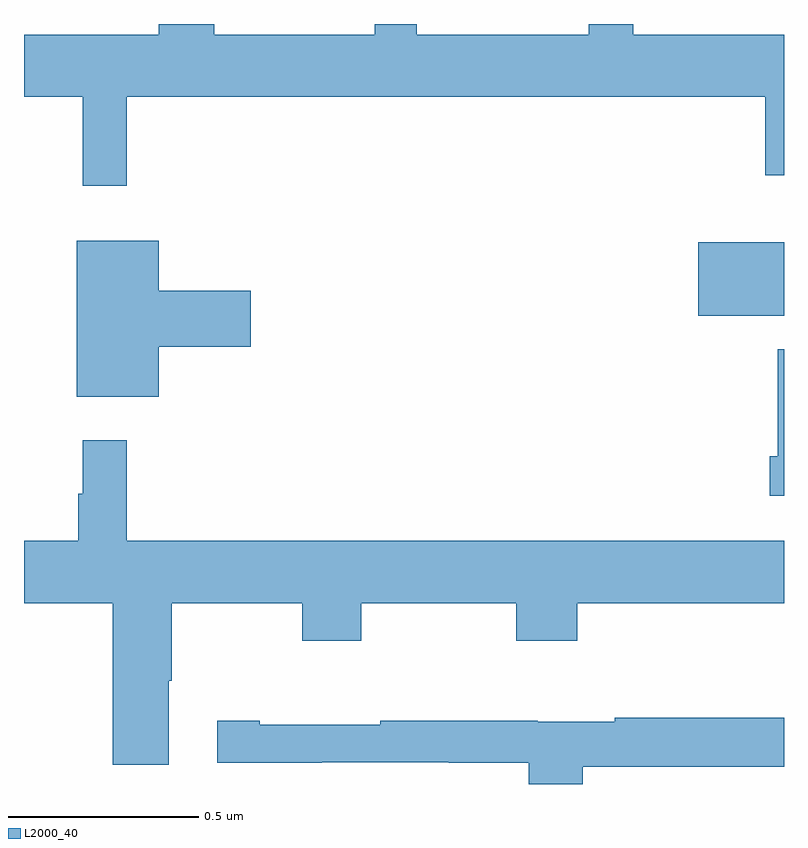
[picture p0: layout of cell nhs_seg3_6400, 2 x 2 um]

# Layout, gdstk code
import gdstk
lib = gdstk.Library(unit=1e-6, precision=1e-09)
def R(c, l, rs):  # rectangles x0, y0, x1, y1
    for r in rs: c.add(gdstk.rectangle(r[:2], r[2:], *l))
def P(c, l, *ps):  # polygons
    for p in ps: c.add(gdstk.Polygon(p, *l))
L2000_40 = (2000, 40)

nhs_seg3_6400 = lib.new_cell('nhs_seg3_6400')
R(nhs_seg3_6400, L2000_40, [(191.774,741.632,192,741.826)])
P(nhs_seg3_6400, L2000_40, [(190.271,742.208),(191.951,742.208),(191.951,742.002),(192,742.002),(192,742.372),(191.603,742.372),(191.603,742.4),(191.486,742.4),(191.486,742.372),(191.033,742.372),(191.033,742.4),(190.923,742.4),(190.923,742.372),(190.501,742.372),(190.501,742.4),(190.354,742.4),(190.354,742.372),(190,742.372),(190,742.208),(190.154,742.208),(190.154,741.975),(190.271,741.975)],
  [(190.354,741.551),(190.597,741.551),(190.597,741.698),(190.354,741.698),(190.354,741.829),(190.139,741.829),(190.139,741.419),(190.354,741.419)],
  [(192,741.544),(191.984,741.544),(191.984,741.262),(191.963,741.262),(191.963,741.158),(192,741.158)],
  [(190.381,740.672),(190.389,740.672),(190.389,740.876),(190.732,740.876),(190.732,740.777),(190.887,740.777),(190.887,740.876),(191.296,740.876),(191.296,740.777),(191.456,740.777),(191.456,740.876),(192,740.876),(192,741.04),(190.271,741.04),(190.271,741.304),(190.154,741.304),(190.154,741.164),(190.143,741.164),(190.143,741.04),(190,741.04),(190,740.876),(190.234,740.876),(190.234,740.451),(190.381,740.451)],
  [(191.471,740.446),(192,740.446),(192,740.575),(191.554,740.575),(191.554,740.564),(191.352,740.564),(191.352,740.566),(190.937,740.566),(190.937,740.556),(190.621,740.556),(190.621,740.566),(190.509,740.566),(190.509,740.456),(190.784,740.456),(190.784,740.457),(191.118,740.457),(191.118,740.456),(191.328,740.456),(191.328,740.4),(191.471,740.4)])

lib.write_gds('nhs_seg3_6400.gds')
